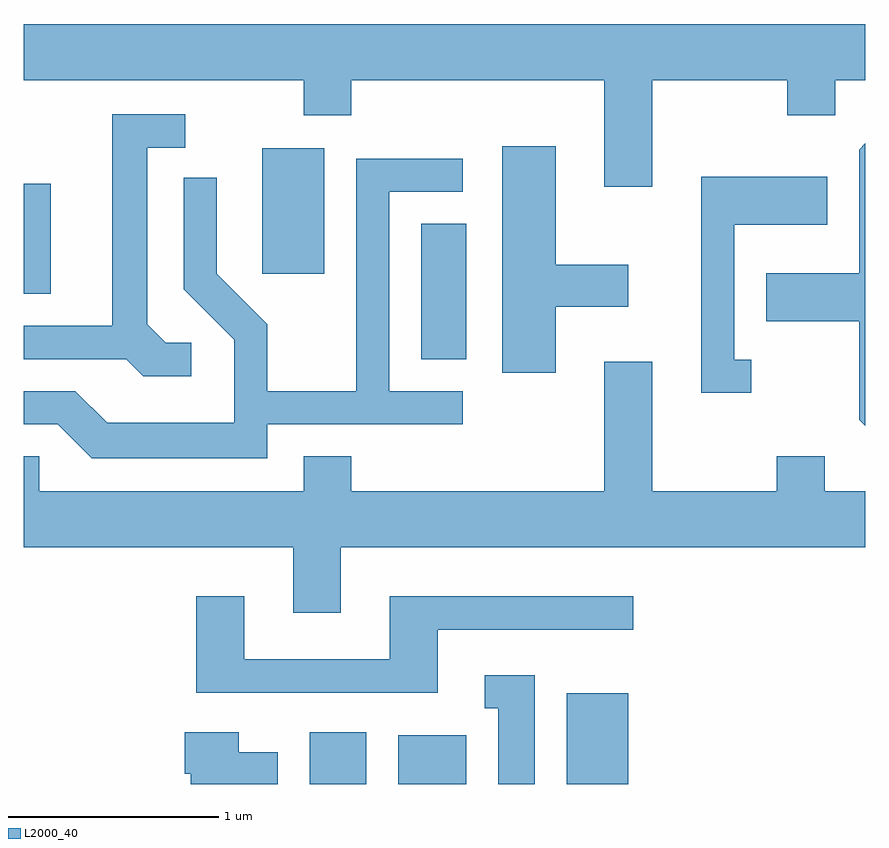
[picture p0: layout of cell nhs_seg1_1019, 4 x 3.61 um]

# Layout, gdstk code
import gdstk
lib = gdstk.Library(unit=1e-6, precision=1e-09)
def R(c, l, rs):  # rectangles x0, y0, x1, y1
    for r in rs: c.add(gdstk.rectangle(r[:2], r[2:], *l))
def P(c, l, *ps):  # polygons
    for p in ps: c.add(gdstk.Polygon(p, *l))
L2000_40 = (2000, 40)

nhs_seg1_1019 = lib.new_cell('nhs_seg1_1019')
R(nhs_seg1_1019, L2000_40, [(216.971,971.712,217.239,971.959), (217.391,971.712,217.714,971.944), (218.191,971.712,218.484,972.144), (217.501,973.731,217.714,974.374), (215.611,974.041,215.739,974.564), (216.746,974.136,217.039,974.734)])
P(nhs_seg1_1019, L2000_40, [(218.599,975.056),(219.241,975.056),(219.241,974.891),(219.469,974.891),(219.469,975.056),(219.611,975.056),(219.611,975.324),(215.611,975.324),(215.611,975.056),(216.941,975.056),(216.941,974.891),(217.169,974.891),(217.169,975.056),(218.371,975.056),(218.371,974.551),(218.599,974.551)],
  [(216.408,973.809),(216.287,973.809),(216.199,973.897),(216.199,974.736),(216.378,974.736),(216.378,974.894),(216.031,974.894),(216.031,973.889),(215.611,973.889),(215.611,973.731),(216.099,973.731),(216.179,973.651),(216.408,973.651)],
  [(219.611,974.757),(219.581,974.727),(219.581,974.139),(219.141,974.139),(219.141,973.911),(219.581,973.911),(219.581,973.444),(219.611,973.414)],
  [(218.139,973.981),(218.484,973.981),(218.484,974.179),(218.139,974.179),(218.139,974.744),(217.886,974.744),(217.886,973.666),(218.139,973.666)],
  [(216.769,973.421),(217.698,973.421),(217.698,973.579),(217.349,973.579),(217.349,974.526),(217.698,974.526),(217.698,974.684),(217.191,974.684),(217.191,973.579),(216.769,973.579),(216.769,973.897),(216.529,974.137),(216.529,974.593),(216.371,974.593),(216.371,974.064),(216.611,973.824),(216.611,973.429),(216.007,973.429),(215.857,973.579),(215.611,973.579),(215.611,973.421),(215.774,973.421),(215.934,973.261),(216.769,973.261)],
  [(219.068,973.729),(218.989,973.729),(218.989,974.371),(219.429,974.371),(219.429,974.599),(218.831,974.599),(218.831,973.571),(219.068,973.571)],
  [(217.119,972.836),(219.611,972.836),(219.611,973.104),(219.419,973.104),(219.419,973.269),(219.191,973.269),(219.191,973.104),(218.599,973.104),(218.599,973.719),(218.371,973.719),(218.371,973.104),(217.169,973.104),(217.169,973.269),(216.941,973.269),(216.941,973.104),(215.684,973.104),(215.684,973.269),(215.611,973.269),(215.611,972.836),(216.891,972.836),(216.891,972.526),(217.119,972.526)],
  [(217.579,972.446),(218.508,972.446),(218.508,972.604),(217.351,972.604),(217.351,972.304),(216.659,972.304),(216.659,972.604),(216.431,972.604),(216.431,972.146),(217.579,972.146)],
  [(218.039,972.229),(217.803,972.229),(217.803,972.071),(217.866,972.071),(217.866,971.712),(218.039,971.712)],
  [(216.819,971.864),(216.634,971.864),(216.634,971.959),(216.376,971.959),(216.376,971.761),(216.406,971.761),(216.406,971.712),(216.819,971.712)])

lib.write_gds('nhs_seg1_1019.gds')
